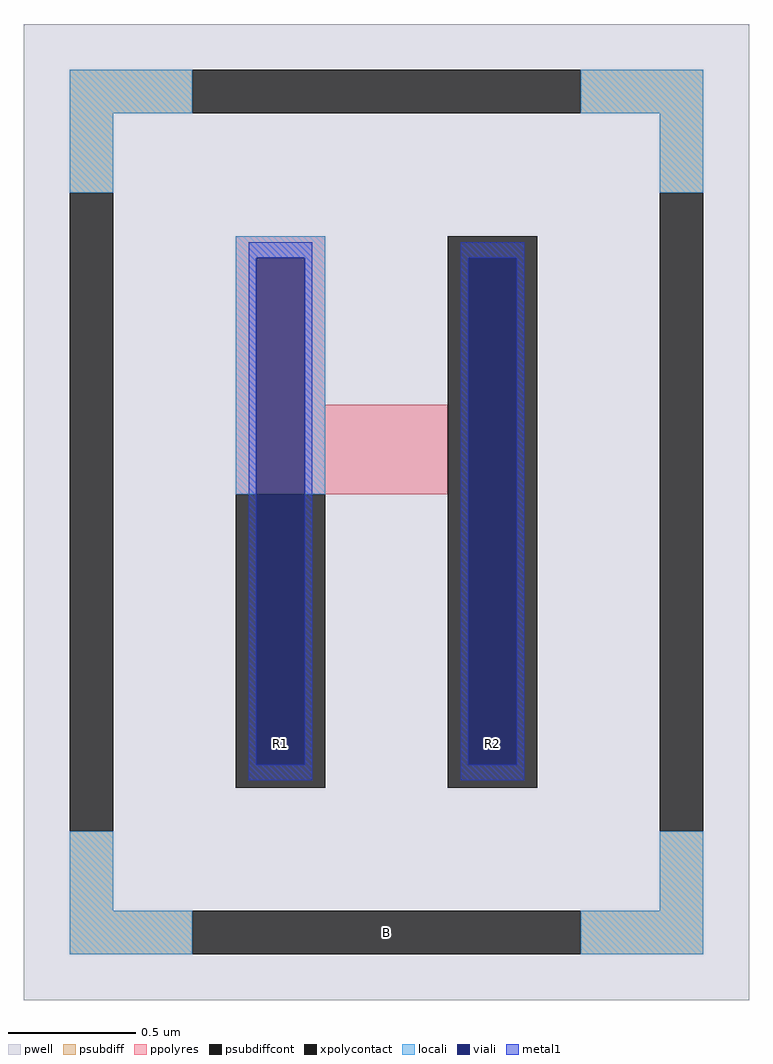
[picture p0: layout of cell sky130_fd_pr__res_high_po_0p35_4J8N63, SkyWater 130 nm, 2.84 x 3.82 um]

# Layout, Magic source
magic
tech sky130A
magscale 1 2
<< pwell >>
rect -284 -382 284 382
<< psubdiff >>
rect -248 312 -152 346
rect 152 312 248 346
rect -248 250 -214 312
rect 214 250 248 312
rect -248 -312 -214 -250
rect 214 -312 248 -250
rect -248 -346 -152 -312
rect 152 -346 248 -312
<< psubdiffcont >>
rect -152 312 152 346
rect -248 -250 -214 250
rect 214 -250 248 250
rect -152 -346 152 -312
<< xpolycontact >>
rect -118 -216 -48 14
rect 48 -216 118 216
<< ppolyres >>
rect -118 84 -48 216
rect -118 14 48 84
<< locali >>
rect -248 312 -152 346
rect 152 312 248 346
rect -248 250 -214 312
rect 214 250 248 312
rect -118 199 -48 216
rect -118 14 -102 199
rect -64 14 -48 199
rect -248 -312 -214 -250
rect 214 -312 248 -250
rect -248 -346 -152 -312
rect 152 -346 248 -312
<< viali >>
rect -102 14 -64 199
rect -102 -198 -64 14
rect 64 -198 102 199
<< metal1 >>
rect -108 199 -58 211
rect -108 -198 -102 199
rect -64 -198 -58 199
rect -108 -210 -58 -198
rect 58 199 108 211
rect 58 -198 64 199
rect 102 -198 108 199
rect 58 -210 108 -198
<< labels >>
rlabel psubdiffcont 0 -329 0 -329 0 B
port 4 nsew
rlabel xpolycontact -83 -181 -83 -181 0 R1
port 5 nsew
rlabel xpolycontact 83 -181 83 -181 0 R2
port 6 nsew
<< properties >>
string FIXED_BBOX -231 -329 231 329
string gencell sky130_fd_pr__res_high_po_0p35
string library sky130
string parameters w 0.35 l 1.5 m 1 nx 2 wmin 0.350 lmin 0.50 class resistor rho 319.8 val 4.174k dummy 0 dw 0.0 term 194.82 sterm 0.0 caplen 0 guard 1 glc 1 grc 1 gtc 1 gbc 1 compatible {sky130_fd_pr__res_high_po_0p35  sky130_fd_pr__res_high_po_0p69 sky130_fd_pr__res_high_po_1p41  sky130_fd_pr__res_high_po_2p85 sky130_fd_pr__res_high_po_5p73} snake 1 full_metal 1 wmax 0.350 vias 1 n_guard 0 hv_guard 0 viagb 0 viagt 0 viagl 0 viagr 0 doports 1
<< end >>
